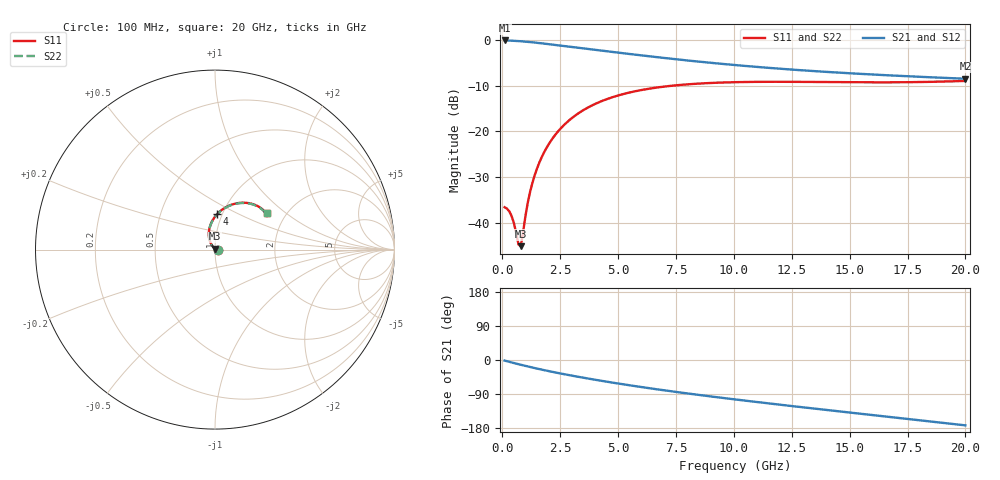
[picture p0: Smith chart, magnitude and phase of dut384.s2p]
! Touchstone file exported from HFSS 2024.1.0
!  File:  C:/UserFiles/LocalFiles/RDL_TSV_Batchsim/temp_RDL_TSV_384_1779645923.aedt
!  Generated:  02:19:01 AM May 25, 2026
!  Design:  RDL_TSV
!  Project:  temp_RDL_TSV_384_1779645923
!  Setup:  Setup1
!  Solution:  Sweep
! Variables:
!  dtsv = 11.76um
!  hbump = 3um
!  htsv = 74.63um
!  ldown = 240.13um
!  lrdl = 372.96um
!  p = 40
!  p1 = 50.78um
!  rhole = 10um
!  subl = 2212.23um
!  t = 450um
!  tdown = 4.87um
!  trdl = 4um
!  viad = 10um
!  wdown = 27.57um
!  wrdl = 10.31um
!  xbump = 18um
# GHz S MA R 50.000000
! Terminal data exported
! Port[1] = TM1_1_T1
! Port[2] = TM1_4_T1
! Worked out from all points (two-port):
!   200 points, 100 MHz to 20 GHz, reference 50 ohm
!   highest |S21| = -0.14 dB at 100 MHz (marker M1); lowest = -8.5 dB at 20 GHz (marker M2)
!   |S21| within 3 dB of the highest: start of sweep to 5.572 GHz
!   lowest |S11| = -45.0 dB at 800 MHz (marker M3), VSWR 1.01, Z = 50.1 + j0.545 ohm
!   |S11| at or under -10 dB: start of sweep to 7.353 GHz
!   |S22| runs from -45.0 to -9.0 dB; largest |S21 - S12| = 3.7e-14
!   S11 on the Smith chart (normalised r, x): 100 MHz: 1.03, +0.00; 4 GHz: 0.95, +0.39; 20 GHz: 1.61, +0.75
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0.1  0.01491 1.1  0.9845 -1.6  0.9845 -1.6  0.01491 1.1
! Gamma 0 0 0 0
! Port Impedance 50 0 50 0
0.3  0.01348 3.0  0.9814 -4.9  0.9814 -4.9  0.01348 3.0
0.4  0.012 4.7  0.979 -6.4  0.979 -6.4  0.01202 4.7
0.5  0.01005 8.6  0.9762 -8.0  0.9762 -8.0  0.01007 8.5
0.7  0.005841 38.8  0.9692 -11.1  0.9692 -11.1  0.005864 38.4
0.8  0.005609 75.9  0.9651 -12.6  0.9651 -12.6  0.0056 75.3
1  0.01196 117.7  0.9558 -15.6  0.9558 -15.6  0.01188 117.4
1.2  0.0219 125.3  0.9454 -18.5  0.9454 -18.5  0.02177 125.1
1.4  0.03337 125.4  0.9341 -21.3  0.9341 -21.3  0.03319 125.3
1.7  0.05226 121.8  0.9161 -25.4  0.9161 -25.4  0.05201 121.8
2.1  0.07914 115.3  0.8912 -30.5  0.8912 -30.5  0.07878 115.2
2.5  0.1065 108.5  0.8662 -35.4  0.8662 -35.4  0.106 108.4
3  0.1398 100.4  0.8357 -41.2  0.8357 -41.2  0.1392 100.3
3.5  0.171 92.9  0.8062 -46.8  0.8062 -46.8  0.1702 92.9
4  0.1994 86.2  0.778 -52.1  0.778 -52.1  0.1985 86.2
5.2  0.2552 72.7  0.7151 -63.9  0.7151 -63.9  0.254 72.6
6.8  0.3046 59.1  0.6421 -78.4  0.6421 -78.4  0.3032 59.0
8.4  0.3322 49.2  0.5814 -91.5  0.5814 -91.5  0.3305 49.1
10.1  0.3454 41.7  0.5293 -104.4  0.5293 -104.4  0.3435 41.7
13.4  0.347 34.0  0.457 -127.7  0.457 -127.7  0.3449 34.0
16.7  0.3439 32.8  0.4098 -150.1  0.4098 -150.1  0.3417 32.8
20  0.3563 34.8  0.3762 -172.5  0.3762 -172.5  0.3543 34.9
